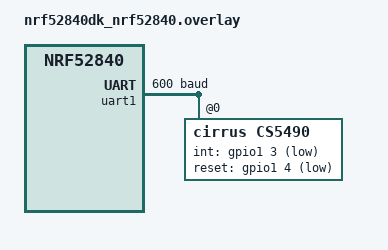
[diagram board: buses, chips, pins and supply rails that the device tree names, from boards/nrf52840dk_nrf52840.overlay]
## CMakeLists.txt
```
# SPDX-License-Identifier: Apache-2.0

cmake_minimum_required(VERSION 3.20.0)
find_package(Zephyr REQUIRED HINTS $ENV{ZEPHYR_BASE})
project(cs5490)

FILE(GLOB app_sources src/*.c)
target_sources(app PRIVATE ${app_sources})
```

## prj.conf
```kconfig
CONFIG_SENSOR=y

CONFIG_CS5490=y
CONFIG_UART_USE_RUNTIME_CONFIGURE=y
CONFIG_SERIAL=y
CONFIG_UART_ASYNC_API=y
CONFIG_UART_1_ASYNC=y
CONFIG_UART_1_INTERRUPT_DRIVEN=n
CONFIG_UART_1_NRF_HW_ASYNC=y
CONFIG_UART_1_NRF_HW_ASYNC_TIMER=1

CONFIG_LOG=y
CONFIG_SENSOR_LOG_LEVEL_DBG=y
CONFIG_PICOLIBC_IO_FLOAT=y
CONFIG_SHELL=y
CONFIG_KERNEL_SHELL=y
CONFIG_CS5490_TRIGGER=y
#CONFIG_CS5490_TRIGGER_OWN_THREAD=y

# RTT console
#CONFIG_CONSOLE=y
#CONFIG_UART_CONSOLE=n
#CONFIG_LOG=y
#CONFIG_USE_SEGGER_RTT=y
#CONFIG_RTT_CONSOLE=y

# Custom board config
#CONFIG_CLOCK_CONTROL_NRF_K32SRC_RC=y
```

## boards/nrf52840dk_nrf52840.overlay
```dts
&uart1 {
	compatible = "nordic,nrf-uarte";
	current-speed = <600>;
	status = "okay";

	#address-cells=<1>;
	#size-cells=<0>;
	cs5490: cs5490@0 {
		compatible = "cirrus,cs5490";
		reg = <0x0>;
		int-gpios = <&gpio1 3 GPIO_ACTIVE_LOW>;
		reset-gpios = <&gpio1 4 GPIO_ACTIVE_LOW>;
		status = "okay";
	};
};		
```

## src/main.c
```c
#include <zephyr/kernel.h>
#include <zephyr/device.h>
#include <stdio.h>
#include <zephyr/drivers/sensor.h>
#include <zephyr/drivers/sensor/cs5490.h>

#define SLEEP_TIME	K_MSEC(1000)

static int fetch_and_display(const struct device *dev)
{
	int rc;
	struct sensor_value rms_current;
	struct sensor_value rms_voltage;
	struct sensor_value power;
	struct sensor_value inst_voltage;
	struct sensor_value freq;

	rc = sensor_sample_fetch(dev);
	if (rc < 0) {
		printk("Failed to fetch sample %d\n", rc);
		return rc;
	}

#if 1
	rc = sensor_channel_get(dev, SENSOR_CHAN_INST_VOLTAGE, &inst_voltage); 
	if (rc < 0) {
		printk("Failed to get sample %d\n", rc);
		return rc;
	}

	rc = sensor_channel_get(dev, SENSOR_CHAN_RMS_CURRNT, &rms_current); 
	if (rc < 0) {
		printk("Failed to get sample %d\n", rc);
		return rc;
	}

	rc = sensor_channel_get(dev, SENSOR_CHAN_RMS_VOLTAGE, &rms_voltage); 
	if (rc < 0) {
		printk("Failed to get sample %d\n", rc);
		return rc;
	}
	rc = sensor_channel_get(dev, SENSOR_CHAN_FREQUENCY, &freq);
	if (rc < 0) {
		printk("Failed to get frequency %d\n", rc);
		return rc;
	}

	printk("Inst voltage %f\n", sensor_value_to_float(&inst_voltage));
	printk("Frequency %f\n", sensor_value_to_float(&freq));

#endif
	return 0;
}

#if defined CONFIG_CS5490_TRIGGER
static void trigger_handler(const struct device *dev,
			    const struct sensor_trigger *trig)
{
	switch ((enum sensor_trigger_type_cs5490)trig->type) {
	case SENSOR_TRIG_OVERCURRENT:
		printk("Over current is detected\n");
		break;
	case SENSOR_TRIG_OUT_OF_RANGE_VOLTAGE:
		printk("Voltage out of Range\n");
		break;
	case SENSOR_TRIG_OUT_OF_RANGE_CURRENT:
		printk("Current out of Range\n");
		break;
	case SENSOR_TRIG_OUT_OF_RANGE_POWER:
		printk("Current out of Range\n");
		break;
	case SENSOR_TRIG_DATA_READY:
	default:
		fetch_and_display(dev);
		break;
	}
}
#endif

int main(void)
{
	int rc;
	struct sensor_value baudrate = {0};
	const struct device *const sensor = DEVICE_DT_GET_ONE(cirrus_cs5490);

	if (!device_is_ready(sensor)) {
		printk("Device is not ready \n");
		return 0;
	}

#if 0
	/* Setting baudrate to 115200 */
	baudrate.val1 = 115200;
	rc = sensor_attr_set(sensor, 1,
			     SENSOR_ATTR_BAUDRATE,
			     &baudrate);
	if (rc != 0) {
		printk("Failed to set baudrate %d\n", rc);
		return 0;
	}
#endif
#if defined CONFIG_CS5490_TRIGGER
	struct sensor_trigger trig;

	k_msleep(2000);

#if 1
	trig.type = SENSOR_TRIG_DATA_READY;
	rc = sensor_trigger_set(sensor, &trig, trigger_handler);
	if (rc != 0) {
		printk("Failed to set trigger: %d\n", rc);
		return 0;
	}

	trig.type = SENSOR_TRIG_OUT_OF_RANGE_VOLTAGE;
	rc = sensor_trigger_set(sensor, &trig, trigger_handler);
	if (rc != 0) {
		printk("Failed to set trigger: %d\n", rc);
		return 0;
	}

	trig.type = SENSOR_TRIG_OUT_OF_RANGE_CURRENT;
	rc = sensor_trigger_set(sensor, &trig, trigger_handler);
	if (rc != 0) {
		printk("Failed to set trigger: %d\n", rc);
		return 0;
	}

	trig.type = SENSOR_TRIG_OUT_OF_RANGE_POWER;
	rc = sensor_trigger_set(sensor, &trig, trigger_handler);
	if (rc != 0) {
		printk("Failed to set trigger: %d\n", rc);
		return 0;
	}

	struct sensor_value attr_value = {0};
	attr_value.val1 = 10;
	rc = sensor_attr_set(sensor, 1,
			     SENSOR_ATTR_OVERCURRENT_THRESHOLD,
			     &attr_value);
	if (rc != 0) {
		printf("Failed to set overcurrent threshold %d\n", rc);
		return 0;
	}

	trig.type = SENSOR_TRIG_OVERCURRENT;
	rc = sensor_trigger_set(sensor, &trig, trigger_handler);
	if (rc != 0) {
		printk("Failed to set trigger: %d\n", rc);
		return 0;
	}
#endif
#else
	/* Polling Mode */
	while (1) {
		fetch_and_display(sensor);

		k_sleep(K_SECONDS(1));
	}

#endif
	return 0;
}
```
